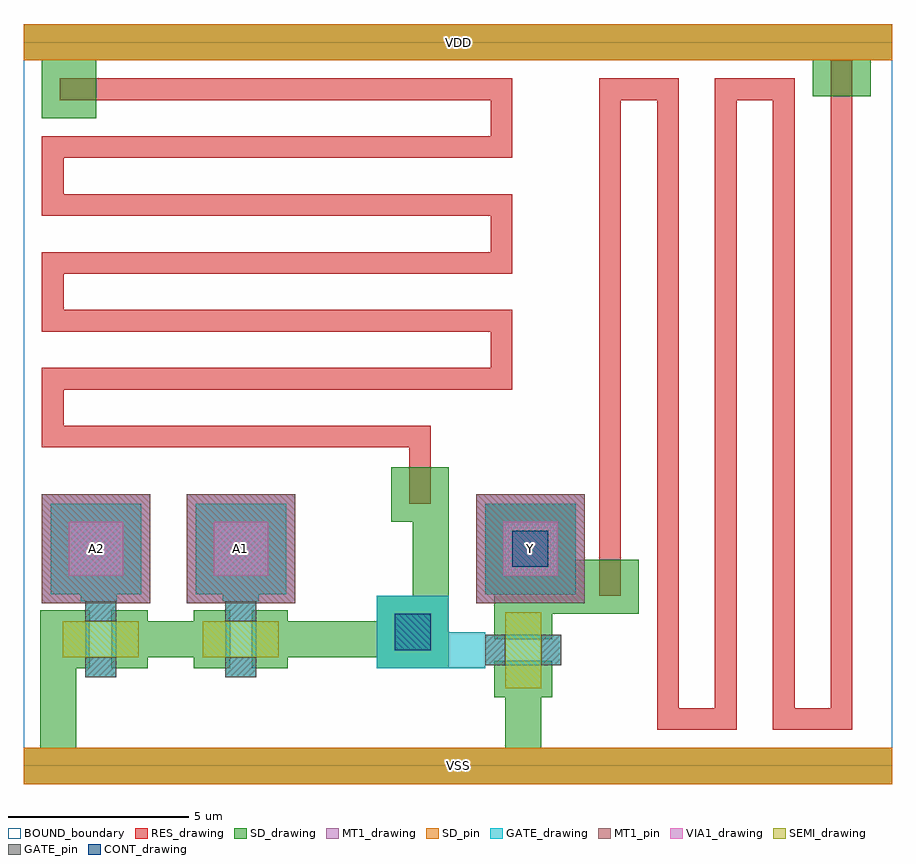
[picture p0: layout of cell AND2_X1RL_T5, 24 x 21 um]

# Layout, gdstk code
from math import pi, radians
import gdstk
lib = gdstk.Library(unit=1e-6, precision=1e-09)
def R(c, l, rs):  # rectangles x0, y0, x1, y1
    for r in rs: c.add(gdstk.rectangle(r[:2], r[2:], *l))
def P(c, l, *ps):  # polygons
    for p in ps: c.add(gdstk.Polygon(p, *l))
RES_drawing = (1, 0)
SEMI_drawing = (3, 0)
SD_drawing = (10, 0)
SD_pin = (10, 3)
GATE_drawing = (11, 0)
GATE_pin = (11, 3)
MT1_drawing = (20, 0)
MT1_pin = (20, 3)
CONT_drawing = (30, 0)
VIA1_drawing = (41, 0)
BOUND_boundary = (150, 5)

nch_cdns_772544859660 = lib.new_cell('nch_CDNS_772544859660')
R(nch_cdns_772544859660, SEMI_drawing, [(-1.05,-0.5,1.05,0.5)])
R(nch_cdns_772544859660, SD_drawing, [(-1.3,-0.8,-0.3,0.8), (0.3,-0.8,1.3,0.8)])
R(nch_cdns_772544859660, GATE_drawing, [(-0.425,-1.05,0.425,1.05)])
R(nch_cdns_772544859660, GATE_pin, [(-0.425,-1.05,0.425,-0.5), (-0.425,0.5,0.425,1.05)])

res_cdns_772544859661 = lib.new_cell('res_CDNS_772544859661')
R(res_cdns_772544859661, SD_drawing, [(10.15,6.75,11.75,8.25), (0.5,17.9,2,19.5)])
res_cdns_772544859661.add(gdstk.FlexPath([(2,18.7),(13.2,18.7),(13.2,17.1),(0.8,17.1),(0.8,15.5),(13.2,15.5),(13.2,13.9),(0.8,13.9),(0.8,12.3),(13.2,12.3),(13.2,10.7),(0.8,10.7),(0.8,9.1),(10.95,9.1),(10.95,8.25)], 0.6, ends=(1, 1), simple_path=True, layer=1, datatype=0))  # RES_drawing

res_cdns_772544859662 = lib.new_cell('res_CDNS_772544859662')
R(res_cdns_772544859662, SD_drawing, [(15.4,4.2,17,5.7), (21.8,18.5,23.4,20)])
res_cdns_772544859662.add(gdstk.FlexPath([(22.6,18.5),(22.6,1.3),(21,1.3),(21,18.7),(19.4,18.7),(19.4,1.3),(17.8,1.3),(17.8,18.7),(16.2,18.7),(16.2,5.7)], 0.6, ends=(1, 1), simple_path=True, layer=1, datatype=0))  # RES_drawing

gate_mt1_cdns_7725448596 = lib.new_cell('GATE_MT1_CDNS_772544859660')
R(gate_mt1_cdns_7725448596, GATE_drawing, [(-1.25,-1.25,1.25,1.25)])
R(gate_mt1_cdns_7725448596, MT1_drawing, [(-1.5,-1.5,1.5,1.5)])
R(gate_mt1_cdns_7725448596, VIA1_drawing, [(-0.75,-0.75,0.75,0.75)])

sd_gate_cdns_77254485966 = lib.new_cell('SD_GATE_CDNS_772544859661')
R(sd_gate_cdns_77254485966, SD_drawing, [(-1,-1,1,1)])
R(sd_gate_cdns_77254485966, GATE_drawing, [(-1,-1,1,1)])
R(sd_gate_cdns_77254485966, CONT_drawing, [(-0.5,-0.5,0.5,0.5)])

c_sd_gate_cdns_77254485966 = lib.new_cell('SD_GATE_CDNS_772544859662')
R(c_sd_gate_cdns_77254485966, SD_drawing, [(-1.25,-1.25,1.25,1.25)])
R(c_sd_gate_cdns_77254485966, GATE_drawing, [(-1.25,-1.25,1.25,1.25)])
R(c_sd_gate_cdns_77254485966, CONT_drawing, [(-0.5,-0.5,0.5,0.5)])

and2_x1rl_t5 = lib.new_cell('AND2_X1RL_T5')
R(and2_x1rl_t5, SD_drawing, [(0,-0.5,24,0.5), (13.3,0.5,14.3,1.95), (3.425,3,4.7,4), (7.3,3,9.75,4), (10.75,4.7,11.75,6.75), (21.8,18.5,23.4,20), (0,19.5,24,20.5)])
P(and2_x1rl_t5, SD_drawing, [(15.4,5.7),(15.25,5.7),(15.25,4.75),(13,4.75),(13,4.5),(14.6,4.5),(14.6,4.2),(15.4,4.2)],
  [(1.45,2.7),(0.825,2.7),(0.825,4.3),(0.45,4.3),(0.45,0.5),(1.45,0.5)])
R(and2_x1rl_t5, SD_pin, [(0,-0.5,24,0.5), (0,19.5,24,20.5)])
R(and2_x1rl_t5, GATE_drawing, [(11.75,2.7,12.675,3.7), (5.5,4.625,6.5,4.75), (1.575,4.65,2.575,4.75)])
P(and2_x1rl_t5, GATE_drawing, [(12.675,3.7),(12.675,2.7),(12.75,2.7),(12.75,2.825),(12.8,2.825),(12.8,3.575),(12.75,3.575),(12.75,3.7)],
  [(6.5,4.625),(5.5,4.625),(5.5,4.55),(5.625,4.55),(5.625,4.5),(6.375,4.5),(6.375,4.55),(6.5,4.55)],
  [(2.575,4.65),(1.575,4.65),(1.575,4.55),(1.75,4.55),(1.75,4.5),(2.5,4.5),(2.5,4.55),(2.575,4.55)])
R(and2_x1rl_t5, MT1_drawing, [(0.5,4.5,3.5,7.5), (4.5,4.5,7.5,7.5), (12.5,4.5,15.5,7.5)])
R(and2_x1rl_t5, MT1_pin, [(0.5,4.5,3.5,7.5), (4.5,4.5,7.5,7.5), (12.5,4.5,15.5,7.5)])
R(and2_x1rl_t5, BOUND_boundary, [(0,0,24,20)])
and2_x1rl_t5.add(gdstk.Reference(nch_cdns_772544859660, (13.8,3.2), rotation=pi/2))
and2_x1rl_t5.add(gdstk.Reference(nch_cdns_772544859660, (6,3.5)))
and2_x1rl_t5.add(gdstk.Reference(nch_cdns_772544859660, (2.125,3.5)))
and2_x1rl_t5.add(gdstk.Reference(res_cdns_772544859661, (0,0)))
and2_x1rl_t5.add(gdstk.Reference(res_cdns_772544859662, (0,0)))
and2_x1rl_t5.add(gdstk.Reference(gate_mt1_cdns_7725448596, (2,6)))
and2_x1rl_t5.add(gdstk.Reference(gate_mt1_cdns_7725448596, (14,6)))
and2_x1rl_t5.add(gdstk.Reference(gate_mt1_cdns_7725448596, (6,6)))
and2_x1rl_t5.add(gdstk.Reference(sd_gate_cdns_77254485966, (10.75,3.7)))
and2_x1rl_t5.add(gdstk.Reference(c_sd_gate_cdns_77254485966, (14,6)))
and2_x1rl_t5.add(gdstk.Label('VDD', (12,20), layer=10, texttype=3))
and2_x1rl_t5.add(gdstk.Label('VSS', (12,0), layer=10, texttype=3))
and2_x1rl_t5.add(gdstk.Label('A1', (6,6), layer=20, texttype=3))
and2_x1rl_t5.add(gdstk.Label('A2', (2,6), layer=20, texttype=3))
and2_x1rl_t5.add(gdstk.Label('Y', (14,6), layer=20, texttype=3))

lib.write_gds('AND2_X1RL_T5.gds')
